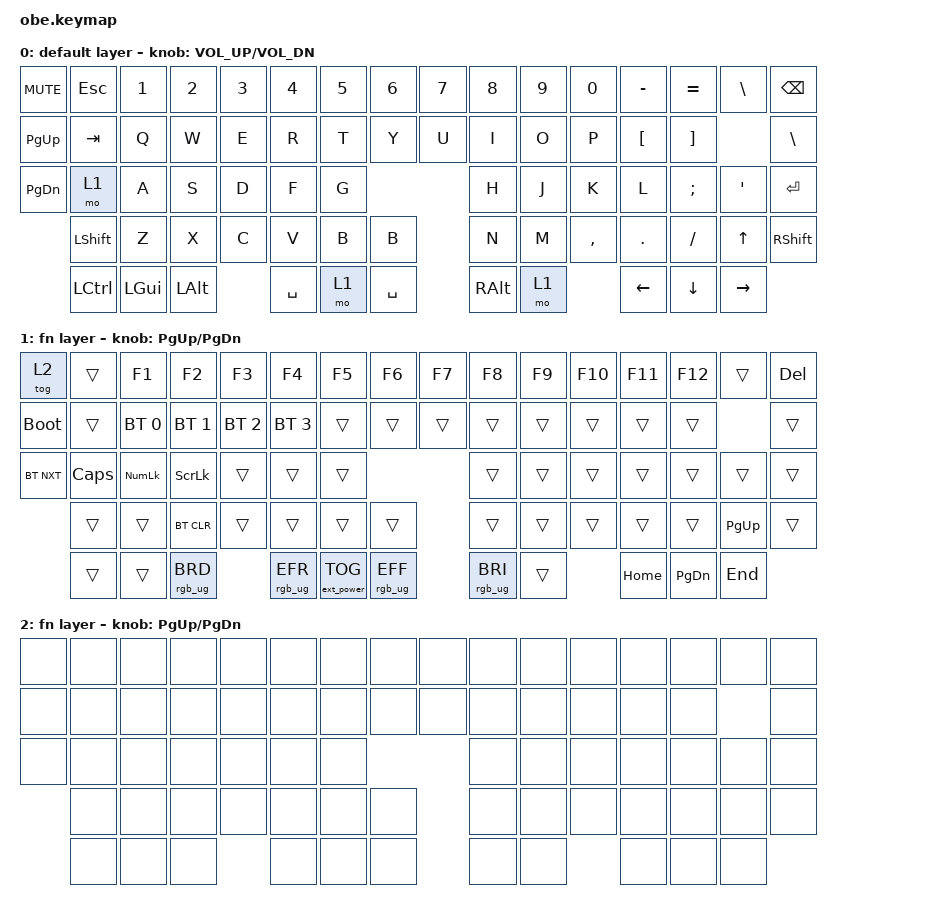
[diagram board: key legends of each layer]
/*
 * Copyright (c) 2023 The ZMK Contributors
 *
 * SPDX-License-Identifier: MIT
 */

#include <behaviors.dtsi>
#include <dt-bindings/zmk/keys.h>
#include <dt-bindings/zmk/bt.h>
#include <dt-bindings/zmk/rgb.h>
#include <dt-bindings/zmk/ext_power.h>

#define TIMEOUT 300

&encoder_1 {
    status = "okay";
};

/ {
    combos {
        compatible = "zmk,combos";
        combo_btclr {
            timeout-ms = <TIMEOUT>;
            key-positions = <1 6>;
            bindings = <&bt BT_CLR>;
        };
        combo_lock {
            timeout-ms = <TIMEOUT>;
            key-positions = <1 7>;
            bindings = <&tog 2>;
        };
        combo_reset {
            timeout-ms = <TIMEOUT>;
            key-positions = <1 3>;
            bindings = <&sys_reset>;
        };
        combo_bootloader {
            timeout-ms = <TIMEOUT>;
            key-positions = <1 15>;
            bindings = <&bootloader>;
        };
        combo_bt_nxt {
            timeout-ms = <TIMEOUT>;
            key-positions = <1 4>;
            bindings = <&bt BT_NXT>;
        };
    };
    
    sensors {
        compatible = "zmk,keymap-sensors";
        sensors = <&encoder_1>;
    };

    keymap0: keymap {
        compatible = "zmk,keymap";

        default_layer {
            label = "default layer";
            bindings = <
                &kp C_MUTE &kp ESC   &kp N1   &kp N2   &kp N3 &kp N4    &kp N5 &kp N6    &kp N7 &kp N8   &kp N9    &kp N0   &kp MINUS &kp EQUAL &kp BSLH &kp BSPC
                &kp PG_UP  &kp TAB   &kp Q    &kp W    &kp E  &kp R     &kp T  &kp Y     &kp U  &kp I    &kp O     &kp P    &kp LBKT  &kp RBKT         &kp BSLH
                &kp PG_DN  &mo 1     &kp A    &kp S    &kp D  &kp F     &kp G  &kp H     &kp J  &kp K    &kp L     &kp SEMI &kp APOS                   &kp ENTER
                           &kp LSHFT &kp Z    &kp X    &kp C  &kp V     &kp B  &kp B     &kp N  &kp M    &kp COMMA &kp DOT  &kp FSLH  &kp UP           &kp RSHFT
                           &kp LCTRL &kp LGUI &kp LALT        &kp SPACE &mo 1  &kp SPACE        &kp RALT &mo 1              &kp LEFT  &kp DOWN  &kp RIGHT
            >;
            sensor-bindings = <&inc_dec_kp C_VOL_UP C_VOL_DN>;
        }; 
        
        fn_layer {
            label = "fn layer";
            bindings = <
                &tog 2      &trans   &kp F1       &kp F2          &kp F3          &kp F4       &kp F5 &kp F6 &kp F7 &kp F8 &kp F9 &kp F10 &kp F11  &kp F12   &trans  &kp DEL
                &bootloader &trans   &bt BT_SEL 0 &bt BT_SEL 1    &bt BT_SEL 2    &bt BT_SEL 3 &trans &trans &trans &trans &trans &trans  &trans   &trans            &trans
                &bt BT_NXT  &kp CAPS &kp KP_NUM   &kp SLCK        &trans          &trans       &trans &trans &trans &trans &trans &trans  &trans                     &trans
                            &trans   &trans       &bt BT_CLR      &trans          &trans       &trans &trans &trans &trans &trans &trans  &trans   &kp PG_UP         &trans
                            &trans   &trans  &rgb_ug RGB_BRD &rgb_ug RGB_EFR &ext_power EP_TOG &rgb_ug RGB_EFF  &rgb_ug RGB_BRI   &trans  &kp HOME &kp PG_DN &kp END
            >;  
            sensor-bindings = <&inc_dec_kp PG_UP PG_DN>;
        };
        
        lock_layer {
            label = "fn layer";
            bindings = <
                &none &none &none &none &none &none &none &none &none &none &none &none &none &none &none &none
                &none &none &none &none &none &none &none &none &none &none &none &none &none &none       &none
                &none &none &none &none &none &none &none &none &none &none &none &none &none             &none
                      &none &none &none &none &none &none &none &none &none &none &none &none &none       &none
                      &none &none &none &none       &none &none &none       &none       &none &none &none
            >;  
            sensor-bindings = <&inc_dec_kp PG_UP PG_DN>;
        };
    };
};
